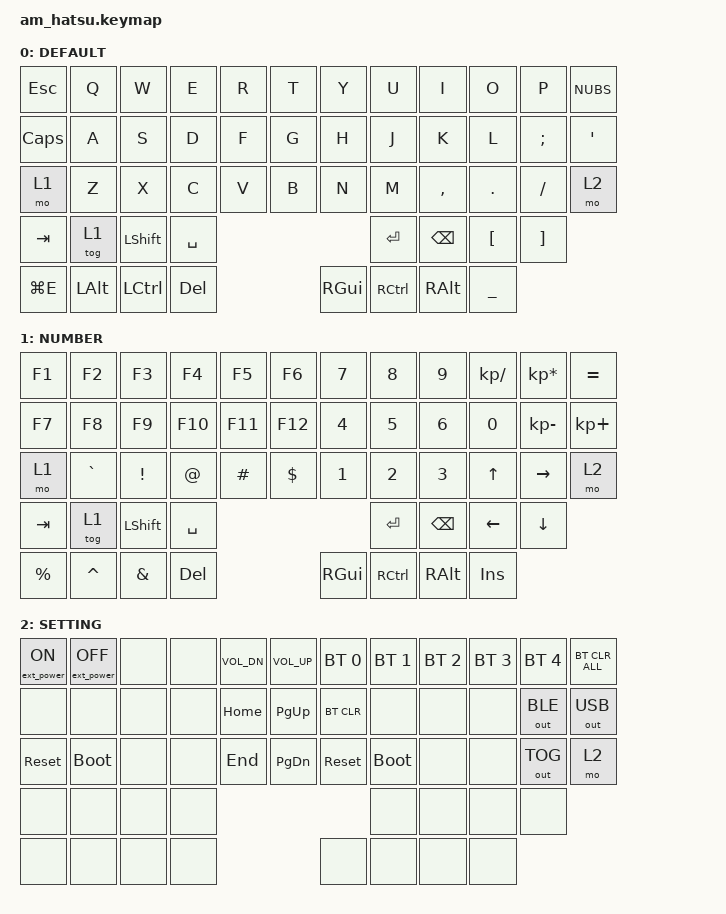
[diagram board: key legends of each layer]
/*
 * Copyright (c) 2020 The ZMK Contributors
 *
 * SPDX-License-Identifier: MIT
 */

#include <behaviors.dtsi>
#include <dt-bindings/zmk/keys.h>
#include <dt-bindings/zmk/bt.h>
#include <dt-bindings/zmk/outputs.h>
#include <dt-bindings/zmk/ext_power.h>


#define DEFAULT 0
#define NUMBER 1
#define SETTING 2

/ {     
//west build -p -b nrf52840_m2 -- -DSHIELD=am_hatsu_left
//west build -d build/left -b nrf52840_m2 --- -DSHIELD=am_hatsu_left
//west build -d build/right -b nrf52840_m2 --- -DSHIELD=am_hatsu_right


// git add .
// git commit -m "Initial shield"
// git push


    keymap {
       compatible = "zmk,keymap";
       default_layer {
         label = "DEFAULT";
// --------------------------------------------------------------------------------------------------------------------------------------------------------------------
// |   ESC   |    Q    |    W    |    E    |    R    |    T    |-----|    Y    |    U    |    I    |    O    |    P    |    \|    |
// |   CAPS  |    A    |    S    |    D    |    F    |    G    |-----|    H    |    J    |    K    |    L    |   : ;   |   " '    |
// |  mo 1   |    Z    |    X    |    C    |    V    |    B    |-----|    N    |    M    |    , <  |    . >  |    / ?  |    mo 2  |
//|  TAB  |    FNSwitch    |    LSHIFT    |    SPACE     |       -----                    | ENTER   |   BSPC |  { [    |  ] }     |
//|  WIN+E  |    ALT   |    CTRL    |    DELETE   |                 -----                    |   WIN  |  RCTRL |    ALT  |  _  |
 // --------------------------------------------------------------------------------------------------------------------------------------------------------------------
 
            bindings = <
&kp ESC     &kp Q   &kp W       &kp E       &kp R   &kp T               &kp Y   &kp U   &kp I       &kp O       &kp P       &kp NUBS
&kp CAPS    &kp A   &kp S        &kp D       &kp F   &kp G              &kp H   &kp J   &kp K       &kp L       &kp SEMI    &kp SQT
&mo 1       &kp Z   &kp X       &kp C       &kp V   &kp B               &kp N   &kp M   &kp COMMA   &kp DOT     &kp FSLH    &mo 2
&kp TAB         &tog 1      &kp LSHIFT  &kp SPACE                       &kp ENTER  &kp BSPC    &kp LBKT    &kp RBKT       
&kp LG(E)       &kp LALT    &kp LCTRL   &kp DEL                         &kp RGUI  &kp RCTRL   &kp RALT   &kp UNDER    
            >;
        };

        number_layer {
            label = "NUMBER";

// --------------------------------------------------------------------------------------------------------------------------------------------------------------------
// |   F1   |    F2    |    F3    |    F4    |    F5    |    F6    |-----|      7    |    8   |    9    |    /   |    *    |    =    |
// |    F7  |    F8   |    F9    |    F10    |   F11   |   F12    |----- |      4    |   5    |    6    |    0   |   -     |   +     |
// |  mo 1   |   `~   |    !    |    @    |    #   |    $     |     -----|      1    |    2    |   3    |    UP   |   RIGHT  |    mo 2  |
//|  TAB   |    FNSwitch    |    LSHIFT    |    SPACE     |          --     | ENTER   |   BSPC |  LEFT    |  DOWN    |
//|     %   |     ^       |     &    |     DELETE   |           -----                    |   WIN  |  RCTRL |    ALT  |  insert  |
// --------------------------------------------------------------------------------------------------------------------------------------------------------------------
          
            bindings = <
&kp F1      &kp F2          &kp F3          &kp F4      &kp F5      &kp F6            &kp N7      &kp N8      &kp N9      &kp KP_SLASH   &kp KP_MULTIPLY    &kp EQUAL  
&kp F7      &kp F8          &kp F9          &kp F10     &kp F11     &kp F12           &kp N4      &kp N5      &kp N6      &kp N0       &kp KP_MINUS       &kp KP_PLUS
&mo 1       &kp GRAVE       &kp EXCL        &kp AT      &kp HASH    &kp DOLLAR        &kp N1      &kp N2      &kp N3      &kp UP        &kp RIGHT         &mo 2 
&kp TAB         &tog 1      &kp LSHIFT  &kp SPACE                                     &kp ENTER   &kp BSPC   &kp LEFT    &kp DOWN
&kp PRCNT        &kp CARET    &kp AMPS   &kp DEL                                       &kp RGUI    &kp RCTRL   &kp RALT   &kp INS    	
            >;
        };

        setting_layer {
            label = "SETTING";

//&ext_power EP_ON    &ext_power EP_OFF   &none   &none   &kp C_VOL_DN    &kp C_VOL_UP         &bt BT_SEL 0    &bt BT_SEL 1  &bt BT_SEL 2  &bt BT_SEL 3  &bt BT_SEL 4    &bt BT_CLR_ALL
//&none       &none   &none   &none   &HOME   &PG_UP                                   &bt BT_CLR           &none           &none   &none   &out OUT_BLE    &out OUT_USB
//&sys_reset      &bootloader   &none   &none   &END   &PG_DN                                   &sys_reset      &bootloader     &none   &none   &out OUT_TOG           &mo 2
//&none       &none   &none   &none                                                   &none           &none           &none   &none
//&none       &none   &none   &none    

            bindings = <
&ext_power EP_ON    &ext_power EP_OFF   &none   &none   &kp C_VOL_DN    &kp C_VOL_UP         &bt BT_SEL 0    &bt BT_SEL 1  &bt BT_SEL 2  &bt BT_SEL 3  &bt BT_SEL 4    &bt BT_CLR_ALL
&none       &none   &none   &none   &kp HOME   &kp PAGE_UP                                   &bt BT_CLR           &none           &none   &none   &out OUT_BLE    &out OUT_USB
&sys_reset      &bootloader   &none   &none   &kp END   &kp PAGE_DOWN                                   &sys_reset      &bootloader     &none   &none   &out OUT_TOG           &mo 2
&none       &none   &none   &none                                                   &none           &none           &none   &none
&none       &none   &none   &none                                                   &none           &none           &none   &none
          >;
         };
    };
};







